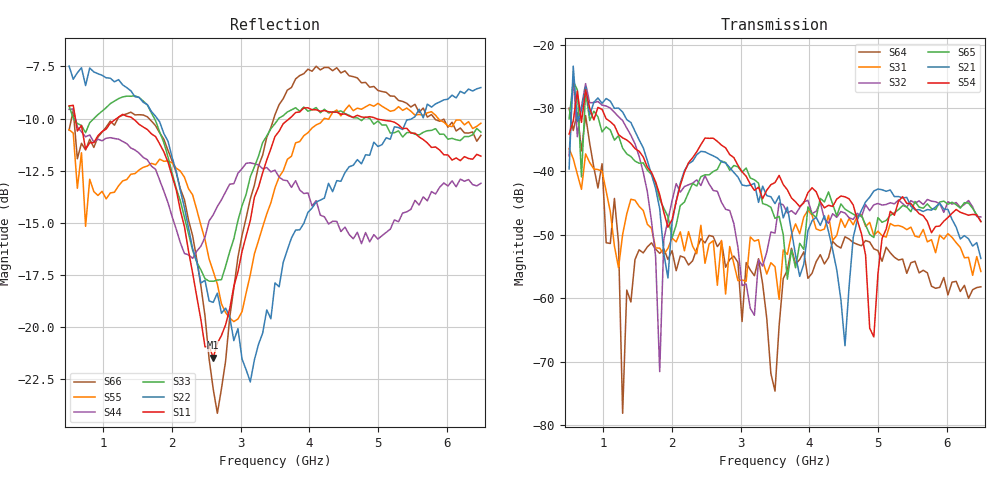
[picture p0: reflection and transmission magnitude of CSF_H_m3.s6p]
!Keysight Technologies,M9804A,MY58100912,A.14.10.03
!Date: Thursday, April 27, 2023 10:28:33
!Correction: S11(C  6-Port  )
!S12(C  6-Port  )
!S13(C  6-Port  )
!S14(C  6-Port  )
!S15(C  6-Port  )
!S16(C  6-Port  )
!S21(C  6-Port  )
!S22(C  6-Port  )
!S23(C  6-Port  )
!S24(C  6-Port  )
!S25(C  6-Port  )
!S26(C  6-Port  )
!S31(C  6-Port  )
!S32(C  6-Port  )
!S33(C  6-Port  )
!S34(C  6-Port  )
!S35(C  6-Port  )
!S36(C  6-Port  )
!S41(C  6-Port  )
!S42(C  6-Port  )
!S43(C  6-Port  )
!S44(C  6-Port  )
!S45(C  6-Port  )
!S46(C  6-Port  )
!S51(C  6-Port  )
!S52(C  6-Port  )
!S53(C  6-Port  )
!S54(C  6-Port  )
!S55(C  6-Port  )
!S56(C  6-Port  )
!S61(C  6-Port  )
!S62(C  6-Port  )
!S63(C  6-Port  )
!S64(C  6-Port  )
!S65(C  6-Port  )
!S66(C  6-Port  )
!S6P File: Measurement: :
# Hz S  RI  R 50
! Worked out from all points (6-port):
!   101 points, 500 MHz to 6.5 GHz, reference 50 ohm
!   strongest paths, dB at 500 MHz, 2 GHz, 3.5 GHz, 5 GHz, 6.5 GHz:
!     S54: -34.1, -47.6, -41.8, -56.1, -47.9
!     S21: -39.6, -48.0, -45.1, -42.8, -53.7
!     S65: -31.7, -50.5, -47.4, -47.3, -47.8
!     S32: -37.5, -44.6, -49.7, -45.0, -47.2
!     S31: -36.4, -50.5, -55.0, -49.4, -55.8
!     S64: -30.0, -52.5, -74.6, -52.5, -58.2
!   lowest |S11| = -21.5 dB at 2.6 GHz (marker M1), VSWR 1.18, Z = 42.5 + j2.17 ohm
!   |S11| at or under -10 dB: 590.9 MHz to 1.191 GHz (600.3 MHz wide, 67.4 % of centre); 1.427 GHz to 3.71 GHz (2.283 GHz wide, 88.9 % of centre); 4.976 GHz to end of sweep
